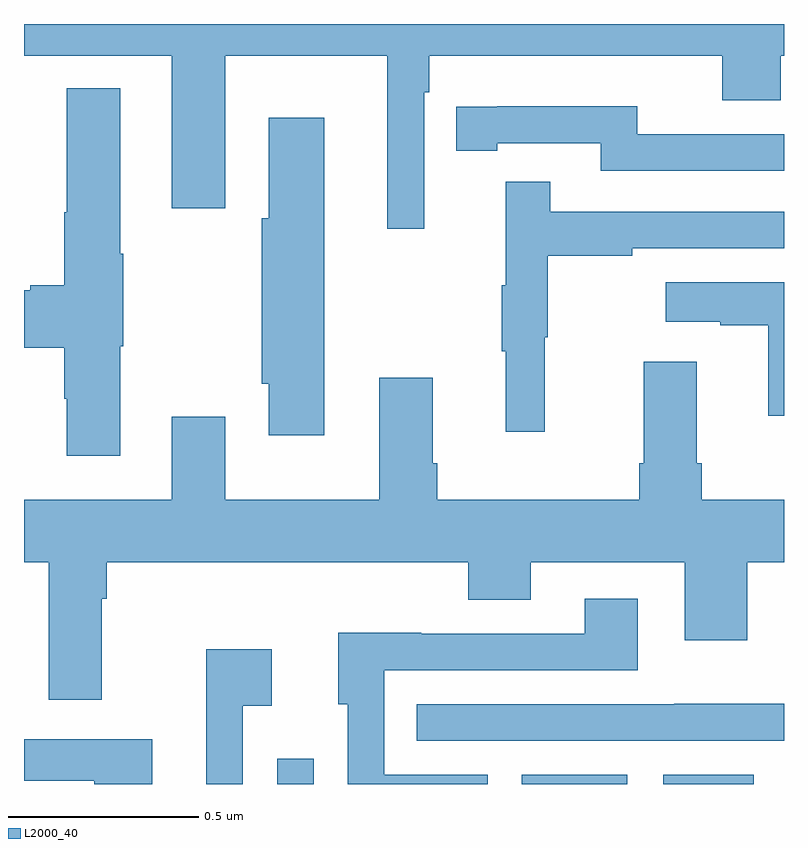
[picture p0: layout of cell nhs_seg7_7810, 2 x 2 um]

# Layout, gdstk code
import gdstk
lib = gdstk.Library(unit=1e-6, precision=1e-09)
def R(c, l, rs):  # rectangles x0, y0, x1, y1
    for r in rs: c.add(gdstk.rectangle(r[:2], r[2:], *l))
def P(c, l, *ps):  # polygons
    for p in ps: c.add(gdstk.Polygon(p, *l))
L2000_40 = (2000, 40)

nhs_seg7_7810 = lib.new_cell('nhs_seg7_7810')
R(nhs_seg7_7810, L2000_40, [(216.666,1032,216.762,1032.067), (217.31,1032,217.588,1032.025), (217.682,1032,217.921,1032.025)])
P(nhs_seg7_7810, L2000_40, [(217.053,1033.82),(217.067,1033.82),(217.067,1033.916),(217.838,1033.916),(217.838,1033.799),(217.991,1033.799),(217.991,1033.916),(218,1033.916),(218,1034),(216,1034),(216,1033.916),(216.389,1033.916),(216.389,1033.515),(216.529,1033.515),(216.529,1033.916),(216.956,1033.916),(216.956,1033.461),(217.053,1033.461)],
  [(216.253,1033.152),(216.261,1033.152),(216.261,1033.396),(216.253,1033.396),(216.253,1033.831),(216.113,1033.831),(216.113,1033.505),(216.106,1033.505),(216.106,1033.313),(216.017,1033.313),(216.017,1033.3),(216,1033.3),(216,1033.148),(216.106,1033.148),(216.106,1033.014),(216.113,1033.014),(216.113,1032.864),(216.253,1032.864)],
  [(218,1033.71),(217.614,1033.71),(217.614,1033.783),(217.246,1033.783),(217.246,1033.782),(217.138,1033.782),(217.138,1033.666),(217.246,1033.666),(217.246,1033.686),(217.518,1033.686),(217.518,1033.614),(218,1033.614)],
  [(216.79,1033.753),(216.644,1033.753),(216.644,1033.489),(216.626,1033.489),(216.626,1033.053),(216.644,1033.053),(216.644,1032.918),(216.79,1032.918)],
  [(217.37,1033.176),(217.378,1033.176),(217.378,1033.39),(217.601,1033.39),(217.601,1033.41),(218,1033.41),(218,1033.506),(217.385,1033.506),(217.385,1033.585),(217.268,1033.585),(217.268,1033.313),(217.257,1033.313),(217.257,1033.139),(217.268,1033.139),(217.268,1032.927),(217.37,1032.927)],
  [(218,1033.321),(217.689,1033.321),(217.689,1033.217),(217.832,1033.217),(217.832,1033.207),(217.958,1033.207),(217.958,1032.969),(218,1032.969)],
  [(217.169,1032.485),(217.333,1032.485),(217.333,1032.584),(217.739,1032.584),(217.739,1032.378),(217.903,1032.378),(217.903,1032.584),(218,1032.584),(218,1032.748),(217.784,1032.748),(217.784,1032.844),(217.771,1032.844),(217.771,1033.111),(217.631,1033.111),(217.631,1032.844),(217.619,1032.844),(217.619,1032.748),(217.088,1032.748),(217.088,1032.844),(217.075,1032.844),(217.075,1033.069),(216.935,1033.069),(216.935,1032.748),(216.529,1032.748),(216.529,1032.967),(216.389,1032.967),(216.389,1032.748),(216,1032.748),(216,1032.584),(216.065,1032.584),(216.065,1032.222),(216.205,1032.222),(216.205,1032.488),(216.218,1032.488),(216.218,1032.584),(217.169,1032.584)],
  [(217.221,1032.024),(216.948,1032.024),(216.948,1032.3),(217.615,1032.3),(217.615,1032.487),(217.475,1032.487),(217.475,1032.396),(217.045,1032.396),(217.045,1032.398),(216.827,1032.398),(216.827,1032.21),(216.852,1032.21),(216.852,1032),(217.221,1032)],
  [(216.576,1032.206),(216.652,1032.206),(216.652,1032.355),(216.479,1032.355),(216.479,1032),(216.576,1032)],
  [(218,1032.211),(217.711,1032.211),(217.711,1032.21),(217.033,1032.21),(217.033,1032.114),(218,1032.114)],
  [(216.337,1032.118),(216,1032.118),(216,1032.008),(216.185,1032.008),(216.185,1032),(216.337,1032)])

lib.write_gds('nhs_seg7_7810.gds')
